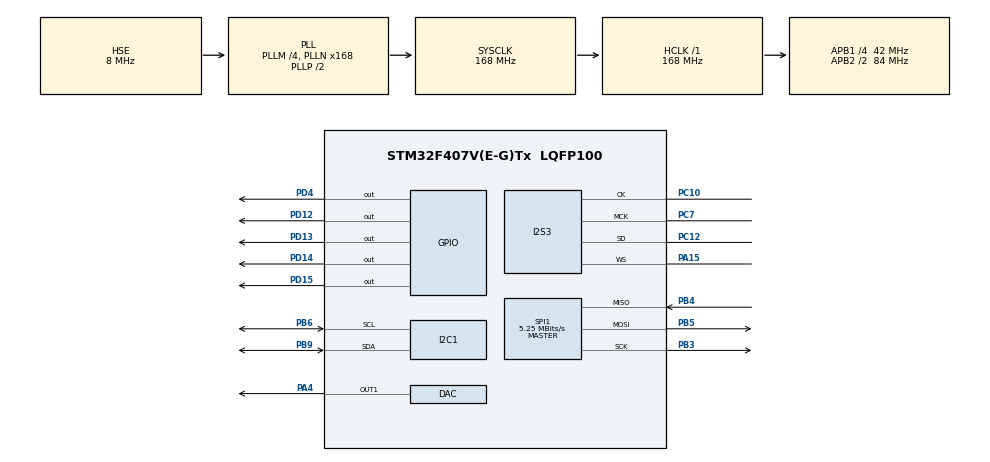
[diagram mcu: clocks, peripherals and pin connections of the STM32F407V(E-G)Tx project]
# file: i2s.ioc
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Dma.Request0=SPI3_TX
Dma.SPI3_TX.0.Direction=DMA_MEMORY_TO_PERIPH
Dma.SPI3_TX.0.FIFOMode=DMA_FIFOMODE_ENABLE
Dma.SPI3_TX.0.FIFOThreshold=DMA_FIFO_THRESHOLD_FULL
Dma.SPI3_TX.0.Instance=DMA1_Stream5
Dma.SPI3_TX.0.MemBurst=DMA_MBURST_SINGLE
Dma.SPI3_TX.0.MemDataAlignment=DMA_MDATAALIGN_HALFWORD
Dma.SPI3_TX.0.MemInc=DMA_MINC_ENABLE
Dma.SPI3_TX.0.Mode=DMA_CIRCULAR
Dma.SPI3_TX.0.PeriphBurst=DMA_PBURST_SINGLE
Dma.SPI3_TX.0.PeriphDataAlignment=DMA_PDATAALIGN_HALFWORD
Dma.SPI3_TX.0.PeriphInc=DMA_PINC_DISABLE
Dma.SPI3_TX.0.Priority=DMA_PRIORITY_LOW
I2S3.AudioFreq=I2S_AUDIOFREQ_48K
I2S3.ErrorAudioFreq=1.72 %
I2S3.FullDuplexMode=I2S_FULLDUPLEXMODE_DISABLE
I2S3.Instance=SPI$Index
I2S3.RealAudioFreq=48.828 KHz
I2S3.VirtualMode=I2S_MODE_MASTER
Mcu.Family=STM32F4
Mcu.Name=STM32F407V(E-G)Tx
Mcu.Package=LQFP100
NVIC.DMA1_Stream5_IRQn=true\:0\:0\:false\:false\:true\:false
NVIC.PriorityGroup=NVIC_PRIORITYGROUP_4
NVIC.TIM2_IRQn=true\:0\:0\:false\:false\:true\:true
PA15.Mode=Half_Duplex_Master
PA15.Signal=I2S3_WS
PA4.Signal=COMP_DAC1_group
PB3.Mode=Full_Duplex_Master
PB3.Signal=SPI1_SCK
PB4.Mode=Full_Duplex_Master
PB4.Signal=SPI1_MISO
PB5.Mode=Full_Duplex_Master
PB5.Signal=SPI1_MOSI
PB6.Mode=I2C
PB6.Signal=I2C1_SCL
PB9.Mode=I2C
PB9.Signal=I2C1_SDA
PC10.Mode=Half_Duplex_Master
PC10.Signal=I2S3_CK
PC12.Mode=Half_Duplex_Master
PC12.Signal=I2S3_SD
PC7.Mode=Master_Clock_Activated
PC7.Signal=I2S3_MCK
PD12.Signal=GPIO_Output
PD13.Signal=GPIO_Output
PD14.Signal=GPIO_Output
PD15.Signal=GPIO_Output
PD4.Signal=GPIO_Output
PH0-OSC_IN.Mode=HSE-External-Oscillator
PH0-OSC_IN.Signal=RCC_OSC_IN
PH1-OSC_OUT.Mode=HSE-External-Oscillator
PH1-OSC_OUT.Signal=RCC_OSC_OUT
ProjectManager.HeapSize=0x200
ProjectManager.StackSize=0x400
ProjectManager.TargetToolchain=SW4STM32
RCC.48MHZClocksFreq_Value=84000000
RCC.AHBFreq_Value=168000000
RCC.APB1CLKDivider=RCC_HCLK_DIV4
RCC.APB1Freq_Value=42000000
RCC.APB1TimFreq_Value=84000000
RCC.APB2CLKDivider=RCC_HCLK_DIV2
RCC.APB2Freq_Value=84000000
RCC.APB2TimFreq_Value=168000000
RCC.CortexFreq_Value=168000000
RCC.HCLKFreq_Value=168000000
RCC.HSE_VALUE=8000000
RCC.HSI_VALUE=16000000
RCC.LSE_VALUE=32768
RCC.PLLI2SN=50
RCC.PLLM=4
RCC.PLLN=168
RCC.PLLSourceVirtual=RCC_PLLSOURCE_HSE
RCC.SYSCLKFreq_VALUE=168000000
RCC.SYSCLKSource=RCC_SYSCLKSOURCE_PLLCLK
RCC.VCOOutputFreq_Value=336000000
SH.COMP_DAC1_group.0=DAC_OUT1,DAC_OUT1
SPI1.BaudRatePrescaler=SPI_BAUDRATEPRESCALER_16
SPI1.CalculateBaudRate=5.25 MBits/s
SPI1.Direction=SPI_DIRECTION_2LINES
SPI1.Mode=SPI_MODE_MASTER
SPI1.VirtualType=VM_MASTER
TIM2.Period=20-1
TIM2.Prescaler=84-1
TIM2.TIM_MasterOutputTrigger=TIM_TRGO_UPDATE
VP_TIM2_VS_ClockSourceINT.Mode=Internal
board=custom

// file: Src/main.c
/**
  ******************************************************************************
  * @file           : main.c
  * @brief          : Main program body
  ******************************************************************************
  ** This notice applies to any and all portions of this file
  * that are not between comment pairs USER CODE BEGIN and
  * USER CODE END. Other portions of this file, whether
  * inserted by the user or by software development tools
  * are owned by their respective copyright owners.
  *
  * COPYRIGHT(c) 2019 STMicroelectronics
  *
  * Redistribution and use in source and binary forms, with or without modification,
  * are permitted provided that the following conditions are met:
  *   1. Redistributions of source code must retain the above copyright notice,
  *      this list of conditions and the following disclaimer.
  *   2. Redistributions in binary form must reproduce the above copyright notice,
  *      this list of conditions and the following disclaimer in the documentation
  *      and/or other materials provided with the distribution.
  *   3. Neither the name of STMicroelectronics nor the names of its contributors
  *      may be used to endorse or promote products derived from this software
  *      without specific prior written permission.
  *
  * THIS SOFTWARE IS PROVIDED BY THE COPYRIGHT HOLDERS AND CONTRIBUTORS "AS IS"
  * AND ANY EXPRESS OR IMPLIED WARRANTIES, INCLUDING, BUT NOT LIMITED TO, THE
  * IMPLIED WARRANTIES OF MERCHANTABILITY AND FITNESS FOR A PARTICULAR PURPOSE ARE
  * DISCLAIMED. IN NO EVENT SHALL THE COPYRIGHT HOLDER OR CONTRIBUTORS BE LIABLE
  * FOR ANY DIRECT, INDIRECT, INCIDENTAL, SPECIAL, EXEMPLARY, OR CONSEQUENTIAL
  * DAMAGES (INCLUDING, BUT NOT LIMITED TO, PROCUREMENT OF SUBSTITUTE GOODS OR
  * SERVICES; LOSS OF USE, DATA, OR PROFITS; OR BUSINESS INTERRUPTION) HOWEVER
  * CAUSED AND ON ANY THEORY OF LIABILITY, WHETHER IN CONTRACT, STRICT LIABILITY,
  * OR TORT (INCLUDING NEGLIGENCE OR OTHERWISE) ARISING IN ANY WAY OUT OF THE USE
  * OF THIS SOFTWARE, EVEN IF ADVISED OF THE POSSIBILITY OF SUCH DAMAGE.
  *
  ******************************************************************************
  */
#include "main.h"
#include "stm32f4xx_hal.h"

/* USER CODE BEGIN Includes */
#include "MY_CS43L22.h"
#include <math.h>
#include "ff.h"

#define  	FA_READ         	0x01
#define  	FA_WRITE        	0x02
#define  	FA_OPEN_EXISTING	0x00
#define  	FA_CREATE_NEW   	0x04
#define  	FA_CREATE_ALWAYS	0x08
#define  	FA_OPEN_ALWAYS  	0x10
#define  	FA_OPEN_APPEND  	0x30
/* USER CODE END Includes */

DAC_HandleTypeDef hdac;

I2C_HandleTypeDef hi2c1;

I2S_HandleTypeDef hi2s3;
DMA_HandleTypeDef hdma_spi3_tx;

SPI_HandleTypeDef hspi1;

TIM_HandleTypeDef htim2;

char buffer[256];      	//bufor odczytu i zapisu
static FATFS FatFs;    	//uchwyt do urz¹dzenia FatFs (dysku, karty SD...)
FRESULT fresult;       	//do przechowywania wyniku operacji na bibliotece FatFs
FIL file;                  //uchwyt do otwartego pliku
WORD bytes_written;        //liczba zapisanych byte
WORD bytes_read;           //liczba odczytanych byte

/* USER CODE BEGIN PV */
/* Private variables ---------------------------------------------------------*/
#define PI 3.14159f

//Sample rate and Output freq
#define F_SAMPLE		50000.0f
#define F_OUT			1000.0f
/* USER CODE END PV */

void SystemClock_Config(void);
static void MX_GPIO_Init(void);
static void MX_DMA_Init(void);
static void MX_I2C1_Init(void);
static void MX_I2S3_Init(void);
static void MX_DAC_Init(void);
static void MX_TIM2_Init(void);
static void MX_SPI1_Init(void);

/* USER CODE BEGIN PFP */
/* Private function prototypes -----------------------------------------------*/

/* USER CODE END PFP */

/* USER CODE BEGIN 0 */
float mySinVal;
float sample_dt;
uint16_t sample_N;
uint16_t i_t;

uint32_t myDacVal;

int16_t I2S_dummy[4];
/* USER CODE END 0 */

int main(void)
{
  /* USER CODE BEGIN 1 */
	sample_dt = F_OUT/F_SAMPLE;
	sample_N = F_SAMPLE/F_OUT;
  /* USER CODE END 1 */

  /* MCU Configuration----------------------------------------------------------*/

  /* Reset of all peripherals, Initializes the Flash interface and the Systick. */
  HAL_Init();

  /* Configure the system clock */
  SystemClock_Config();

  /* Initialize all configured peripherals */
  MX_GPIO_Init();
  MX_DMA_Init();
  MX_I2C1_Init();
  MX_I2S3_Init();
  MX_DAC_Init();
  MX_TIM2_Init();
  MX_SPI1_Init();
  /* USER CODE BEGIN 2 */

  CS43_Init(hi2c1, MODE_ANALOG); // inicjalizacja interfejsu
  CS43_SetVolume(20); // ustawienie g³oœnoœci
  CS43_Enable_RightLeft(CS43_RIGHT_LEFT); // uaktywnienie obydwu kana³ów
  CS43_Start(); // start

  HAL_I2S_Transmit_DMA(&hi2s3, (uint16_t *)I2S_dummy, 4);

  HAL_DAC_Start(&hdac, DAC_CHANNEL_1); // start DAC

  HAL_TIM_Base_Start_IT(&htim2); // start TIMER

  HAL_GPIO_WritePin(GPIOD, GPIO_PIN_15, GPIO_PIN_SET);

   	fresult = f_mount(&FatFs, "", 0);
   	fresult = f_open(&file, "read.txt", 0x01);
   	fresult = f_read(&file, buffer, 14, &bytes_read);
   	fresult = f_open(&file, "file.txt", 0x10 | 0x02);
   	fresult = f_write(&file, buffer, 14, &bytes_written);
   	fresult = f_close(&file);

    HAL_GPIO_WritePin(GPIOD, GPIO_PIN_15, GPIO_PIN_RESET);
   	HAL_GPIO_WritePin(GPIOD, GPIO_PIN_14, GPIO_PIN_SET);

  /* USER CODE END 2 */

  /* Infinite loop */
  while (1)
  {

  }

}

void SystemClock_Config(void)
{

  RCC_OscInitTypeDef RCC_OscInitStruct;
  RCC_ClkInitTypeDef RCC_ClkInitStruct;
  RCC_PeriphCLKInitTypeDef PeriphClkInitStruct;

    /**Configure the main internal regulator output voltage
    */
  __HAL_RCC_PWR_CLK_ENABLE();

  __HAL_PWR_VOLTAGESCALING_CONFIG(PWR_REGULATOR_VOLTAGE_SCALE1);

    /**Initializes the CPU, AHB and APB busses clocks
    */
  RCC_OscInitStruct.OscillatorType = RCC_OSCILLATORTYPE_HSE;
  RCC_OscInitStruct.HSEState = RCC_HSE_ON;
  RCC_OscInitStruct.PLL.PLLState = RCC_PLL_ON;
  RCC_OscInitStruct.PLL.PLLSource = RCC_PLLSOURCE_HSE;
  RCC_OscInitStruct.PLL.PLLM = 4;
  RCC_OscInitStruct.PLL.PLLN = 168;
  RCC_OscInitStruct.PLL.PLLP = RCC_PLLP_DIV2;
  RCC_OscInitStruct.PLL.PLLQ = 4;
  if (HAL_RCC_OscConfig(&RCC_OscInitStruct) != HAL_OK)
  {
    _Error_Handler(__FILE__, __LINE__);
  }

    /**Initializes the CPU, AHB and APB busses clocks
    */
  RCC_ClkInitStruct.ClockType = RCC_CLOCKTYPE_HCLK|RCC_CLOCKTYPE_SYSCLK
                              |RCC_CLOCKTYPE_PCLK1|RCC_CLOCKTYPE_PCLK2;
  RCC_ClkInitStruct.SYSCLKSource = RCC_SYSCLKSOURCE_PLLCLK;
  RCC_ClkInitStruct.AHBCLKDivider = RCC_SYSCLK_DIV1;
  RCC_ClkInitStruct.APB1CLKDivider = RCC_HCLK_DIV4;
  RCC_ClkInitStruct.APB2CLKDivider = RCC_HCLK_DIV2;

  if (HAL_RCC_ClockConfig(&RCC_ClkInitStruct, FLASH_LATENCY_5) != HAL_OK)
  {
    _Error_Handler(__FILE__, __LINE__);
  }

  PeriphClkInitStruct.PeriphClockSelection = RCC_PERIPHCLK_I2S;
  PeriphClkInitStruct.PLLI2S.PLLI2SN = 50;
  PeriphClkInitStruct.PLLI2S.PLLI2SR = 2;
  if (HAL_RCCEx_PeriphCLKConfig(&PeriphClkInitStruct) != HAL_OK)
  {
    _Error_Handler(__FILE__, __LINE__);
  }

    /**Configure the Systick interrupt time
    */
  HAL_SYSTICK_Config(HAL_RCC_GetHCLKFreq()/1000);

    /**Configure the Systick
    */
  HAL_SYSTICK_CLKSourceConfig(SYSTICK_CLKSOURCE_HCLK);

  /* SysTick_IRQn interrupt configuration */
  HAL_NVIC_SetPriority(SysTick_IRQn, 0, 0);
}

/* DAC init function */
static void MX_DAC_Init(void)
{

  DAC_ChannelConfTypeDef sConfig;

    /**DAC Initialization
    */
  hdac.Instance = DAC;
  if (HAL_DAC_Init(&hdac) != HAL_OK)
  {
    _Error_Handler(__FILE__, __LINE__);
  }

    /**DAC channel OUT1 config
    */
  sConfig.DAC_Trigger = DAC_TRIGGER_NONE;
  sConfig.DAC_OutputBuffer = DAC_OUTPUTBUFFER_ENABLE;
  if (HAL_DAC_ConfigChannel(&hdac, &sConfig, DAC_CHANNEL_1) != HAL_OK)
  {
    _Error_Handler(__FILE__, __LINE__);
  }

}

/* I2C1 init function */
static void MX_I2C1_Init(void)
{

  hi2c1.Instance = I2C1;
  hi2c1.Init.ClockSpeed = 100000;
  hi2c1.Init.DutyCycle = I2C_DUTYCYCLE_2;
  hi2c1.Init.OwnAddress1 = 0;
  hi2c1.Init.AddressingMode = I2C_ADDRESSINGMODE_7BIT;
  hi2c1.Init.DualAddressMode = I2C_DUALADDRESS_DISABLE;
  hi2c1.Init.OwnAddress2 = 0;
  hi2c1.Init.GeneralCallMode = I2C_GENERALCALL_DISABLE;
  hi2c1.Init.NoStretchMode = I2C_NOSTRETCH_DISABLE;
  if (HAL_I2C_Init(&hi2c1) != HAL_OK)
  {
    _Error_Handler(__FILE__, __LINE__);
  }

}

/* I2S3 init function */
static void MX_I2S3_Init(void)
{

  hi2s3.Instance = SPI3;
  hi2s3.Init.Mode = I2S_MODE_MASTER_TX;
  hi2s3.Init.Standard = I2S_STANDARD_PHILIPS;
  hi2s3.Init.DataFormat = I2S_DATAFORMAT_16B;
  hi2s3.Init.MCLKOutput = I2S_MCLKOUTPUT_ENABLE;
  hi2s3.Init.AudioFreq = I2S_AUDIOFREQ_48K;
  hi2s3.Init.CPOL = I2S_CPOL_LOW;
  hi2s3.Init.ClockSource = I2S_CLOCK_PLL;
  hi2s3.Init.FullDuplexMode = I2S_FULLDUPLEXMODE_DISABLE;
  if (HAL_I2S_Init(&hi2s3) != HAL_OK)
  {
    _Error_Handler(__FILE__, __LINE__);
  }

}

/* SPI1 init function */
static void MX_SPI1_Init(void)
{

  /* SPI1 parameter configuration*/
  hspi1.Instance = SPI1;
  hspi1.Init.Mode = SPI_MODE_MASTER;
  hspi1.Init.Direction = SPI_DIRECTION_2LINES;
  hspi1.Init.DataSize = SPI_DATASIZE_8BIT;
  hspi1.Init.CLKPolarity = SPI_POLARITY_LOW;
  hspi1.Init.CLKPhase = SPI_PHASE_1EDGE;
  hspi1.Init.NSS = SPI_NSS_SOFT;
  hspi1.Init.BaudRatePrescaler = SPI_BAUDRATEPRESCALER_16;
  hspi1.Init.FirstBit = SPI_FIRSTBIT_MSB;
  hspi1.Init.TIMode = SPI_TIMODE_DISABLE;
  hspi1.Init.CRCCalculation = SPI_CRCCALCULATION_DISABLE;
  hspi1.Init.CRCPolynomial = 10;
  if (HAL_SPI_Init(&hspi1) != HAL_OK)
  {
    _Error_Handler(__FILE__, __LINE__);
  }

}

/* TIM2 init function */
static void MX_TIM2_Init(void)
{

  TIM_ClockConfigTypeDef sClockSourceConfig;
  TIM_MasterConfigTypeDef sMasterConfig;

  htim2.Instance = TIM2;
  htim2.Init.Prescaler = 84-1;
  htim2.Init.CounterMode = TIM_COUNTERMODE_UP;
  htim2.Init.Period = 20-1;
  htim2.Init.ClockDivision = TIM_CLOCKDIVISION_DIV1;
  if (HAL_TIM_Base_Init(&htim2) != HAL_OK)
  {
    _Error_Handler(__FILE__, __LINE__);
  }

  sClockSourceConfig.ClockSource = TIM_CLOCKSOURCE_INTERNAL;
  if (HAL_TIM_ConfigClockSource(&htim2, &sClockSourceConfig) != HAL_OK)
  {
    _Error_Handler(__FILE__, __LINE__);
  }

  sMasterConfig.MasterOutputTrigger = TIM_TRGO_UPDATE;
  sMasterConfig.MasterSlaveMode = TIM_MASTERSLAVEMODE_DISABLE;
  if (HAL_TIMEx_MasterConfigSynchronization(&htim2, &sMasterConfig) != HAL_OK)
  {
    _Error_Handler(__FILE__, __LINE__);
  }

}

static void MX_DMA_Init(void)
{
  /* DMA controller clock enable */
  __HAL_RCC_DMA1_CLK_ENABLE();

  /* DMA interrupt init */
  /* DMA1_Stream5_IRQn interrupt configuration */
  HAL_NVIC_SetPriority(DMA1_Stream5_IRQn, 0, 0);
  HAL_NVIC_EnableIRQ(DMA1_Stream5_IRQn);

}

/** Configure pins as
        * Analog
        * Input
        * Output
        * EVENT_OUT
        * EXTI
*/
static void MX_GPIO_Init(void)
{

  GPIO_InitTypeDef GPIO_InitStruct;

  /* GPIO Ports Clock Enable */
  __HAL_RCC_GPIOH_CLK_ENABLE();
  __HAL_RCC_GPIOA_CLK_ENABLE();
  __HAL_RCC_GPIOD_CLK_ENABLE();
  __HAL_RCC_GPIOC_CLK_ENABLE();
  __HAL_RCC_GPIOB_CLK_ENABLE();

  /*Configure GPIO pin Output Level */
  HAL_GPIO_WritePin(GPIOD, GPIO_PIN_12|GPIO_PIN_13|GPIO_PIN_14|GPIO_PIN_15
                          |GPIO_PIN_4, GPIO_PIN_RESET);

  /*Configure GPIO pins : PD12 PD13 PD14 PD15
                           PD4 */
  GPIO_InitStruct.Pin = GPIO_PIN_12|GPIO_PIN_13|GPIO_PIN_14|GPIO_PIN_15
                          |GPIO_PIN_4;
  GPIO_InitStruct.Mode = GPIO_MODE_OUTPUT_PP;
  GPIO_InitStruct.Pull = GPIO_NOPULL;
  GPIO_InitStruct.Speed = GPIO_SPEED_FREQ_LOW;
  HAL_GPIO_Init(GPIOD, &GPIO_InitStruct);

}

/* USER CODE BEGIN 4 */
void HAL_TIM_PeriodElapsedCallback(TIM_HandleTypeDef *htim)
{
  /* Prevent unused argument(s) compilation warning */
  UNUSED(htim);
  /* NOTE : This function Should not be modified, when the callback is needed,
            the __HAL_TIM_PeriodElapsedCallback could be implemented in the user file
   */

	if(htim->Instance == TIM2)
	{
		mySinVal = sinf(i_t * 2 * PI * sample_dt);
		//Convert from float to decimal
		myDacVal = (mySinVal + 1)*127;
		//Output the sample to the STM DAC
		HAL_DAC_SetValue(&hdac, DAC_CHANNEL_1, DAC_ALIGN_8B_R, myDacVal);

		i_t++;
		if(i_t>= sample_N) i_t = 0;
	}

}
/* USER CODE END 4 */

void _Error_Handler(char *file, int line)
{
  while(1)
  {
  }
}

/************************ (C) COPYRIGHT STMicroelectronics *****END OF FILE****/
